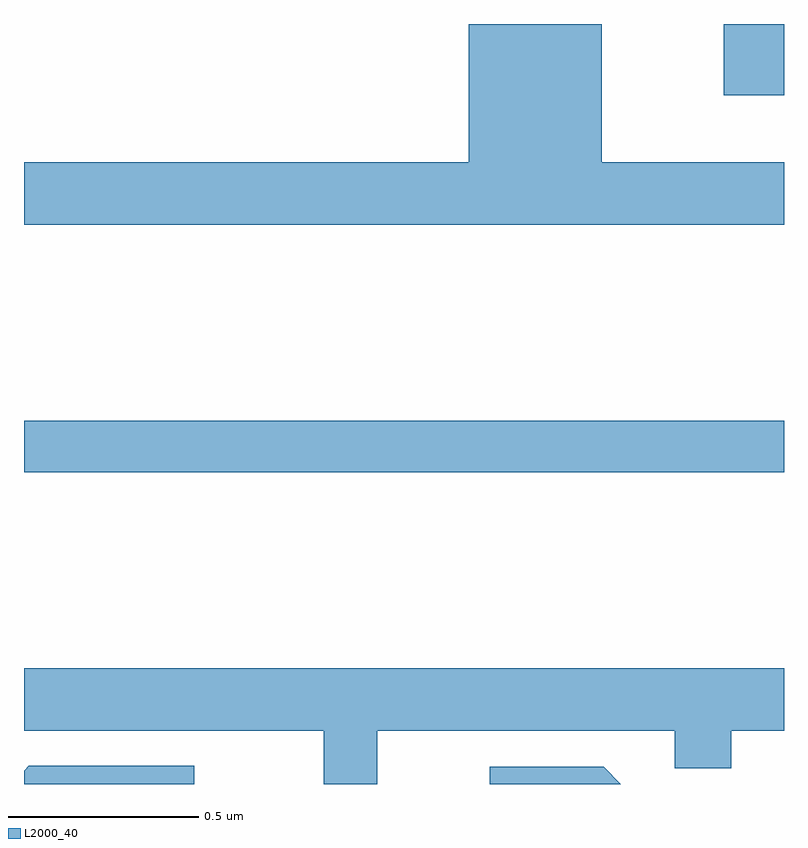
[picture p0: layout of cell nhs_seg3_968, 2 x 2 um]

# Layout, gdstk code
import gdstk
lib = gdstk.Library(unit=1e-6, precision=1e-09)
def R(c, l, rs):  # rectangles x0, y0, x1, y1
    for r in rs: c.add(gdstk.rectangle(r[:2], r[2:], *l))
def P(c, l, *ps):  # polygons
    for p in ps: c.add(gdstk.Polygon(p, *l))
L2000_40 = (2000, 40)

nhs_seg3_968 = lib.new_cell('nhs_seg3_968')
R(nhs_seg3_968, L2000_40, [(122,744.22,124,744.356), (123.841,745.212,124,745.4)])
P(nhs_seg3_968, L2000_40, [(124,745.036),(123.52,745.036),(123.52,745.4),(123.17,745.4),(123.17,745.036),(122,745.036),(122,744.872),(124,744.872)],
  [(122.929,743.54),(123.713,743.54),(123.713,743.441),(123.861,743.441),(123.861,743.54),(124,743.54),(124,743.704),(122,743.704),(122,743.54),(122.789,743.54),(122.789,743.4),(122.929,743.4)],
  [(122.448,743.448),(122.013,743.448),(122,743.435),(122,743.4),(122.448,743.4)],
  [(123.525,743.445),(123.225,743.445),(123.225,743.4),(123.57,743.4)])

lib.write_gds('nhs_seg3_968.gds')
